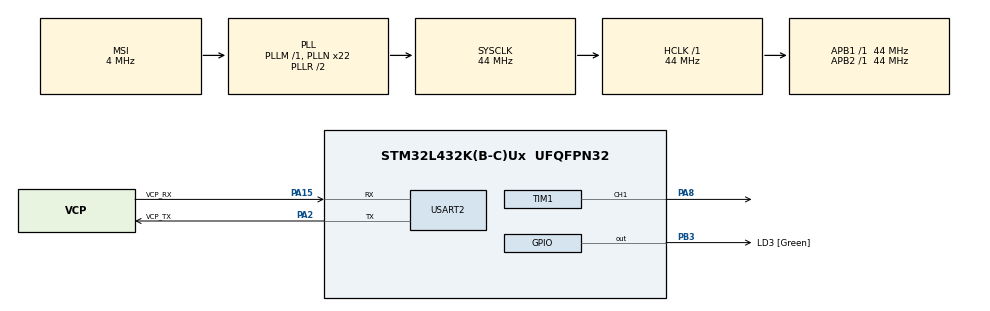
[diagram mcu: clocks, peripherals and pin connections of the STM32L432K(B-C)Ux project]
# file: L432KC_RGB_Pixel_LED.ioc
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Dma.Request0=TIM1_CH1
Dma.TIM1_CH1.0.Direction=DMA_MEMORY_TO_PERIPH
Dma.TIM1_CH1.0.Instance=DMA1_Channel2
Dma.TIM1_CH1.0.MemDataAlignment=DMA_MDATAALIGN_BYTE
Dma.TIM1_CH1.0.MemInc=DMA_MINC_ENABLE
Dma.TIM1_CH1.0.Mode=DMA_CIRCULAR
Dma.TIM1_CH1.0.PeriphDataAlignment=DMA_PDATAALIGN_WORD
Dma.TIM1_CH1.0.PeriphInc=DMA_PINC_DISABLE
Dma.TIM1_CH1.0.Priority=DMA_PRIORITY_HIGH
Mcu.Family=STM32L4
Mcu.Name=STM32L432K(B-C)Ux
Mcu.Package=UFQFPN32
NVIC.DMA1_Channel2_IRQn=true\:0\:0\:false\:false\:true\:false\:true\:true
NVIC.PriorityGroup=NVIC_PRIORITYGROUP_4
PA0.GPIO_Label=MCO [High speed clock in]
PA0.Mode=HSE-External-Clock-Source-for-LittleOrca
PA0.Signal=RCC_CK_IN
PA13\ (JTMS-SWDIO).GPIO_Label=SWDIO
PA13\ (JTMS-SWDIO).Mode=Serial_Wire
PA13\ (JTMS-SWDIO).Signal=SYS_JTMS-SWDIO
PA14\ (JTCK-SWCLK).GPIO_Label=SWCLK
PA14\ (JTCK-SWCLK).Mode=Serial_Wire
PA14\ (JTCK-SWCLK).Signal=SYS_JTCK-SWCLK
PA15\ (JTDI).GPIO_Label=VCP_RX
PA15\ (JTDI).Mode=Asynchronous
PA15\ (JTDI).Signal=USART2_RX
PA2.GPIO_Label=VCP_TX
PA2.Mode=Asynchronous
PA2.Signal=USART2_TX
PA8.Signal=S_TIM1_CH1
PB3\ (JTDO-TRACESWO).GPIO_Label=LD3 [Green]
PB3\ (JTDO-TRACESWO).Signal=GPIO_Output
PC14-OSC32_IN\ (PC14).Mode=LSE-External-Oscillator
PC14-OSC32_IN\ (PC14).Signal=RCC_OSC32_IN
PC15-OSC32_OUT\ (PC15).Mode=LSE-External-Oscillator
PC15-OSC32_OUT\ (PC15).Signal=RCC_OSC32_OUT
ProjectManager.HeapSize=0x200
ProjectManager.StackSize=0x400
ProjectManager.TargetToolchain=STM32CubeIDE
RCC.AHBFreq_Value=44000000
RCC.APB1Freq_Value=44000000
RCC.APB1TimFreq_Value=44000000
RCC.APB2Freq_Value=44000000
RCC.APB2TimFreq_Value=44000000
RCC.CortexFreq_Value=44000000
RCC.HCLKFreq_Value=44000000
RCC.HSE_VALUE=8000000
RCC.HSI16_VALUE=16000000
RCC.HSI48_VALUE=48000000
RCC.HSI_VALUE=16000000
RCC.MSI_VALUE=4000000
RCC.PLLMUL=RCC_PLLMUL_4
RCC.PLLN=22
RCC.SYSCLKFreq_VALUE=44000000
RCC.SYSCLKSource=RCC_SYSCLKSOURCE_PLLCLK
RCC.VCOOutputFreq_Value=88000000
SH.S_TIM1_CH1.0=TIM1_CH1,PWM Generation1 CH1
TIM1.Channel-PWM\ Generation1\ CH1=TIM_CHANNEL_1
TIM1.Period=54
USART2.VirtualMode-Asynchronous=VM_ASYNC
VP_TIM1_VS_ClockSourceINT.Mode=Internal
board=NUCLEO-L432KC

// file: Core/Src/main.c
/* USER CODE BEGIN Header */
/**
 ******************************************************************************
 * @file           : main.c
 * @brief          : Main program body
 ******************************************************************************
 * @attention
 *
 * Copyright (c) 2024 STMicroelectronics.
 * All rights reserved.
 *
 * This software is licensed under terms that can be found in the LICENSE file
 * in the root directory of this software component.
 * If no LICENSE file comes with this software, it is provided AS-IS.
 *
 ******************************************************************************
 */
/* USER CODE END Header */
#include "main.h"
#include "dma.h"
#include "tim.h"
#include "usart.h"
#include "gpio.h"

/* USER CODE BEGIN Includes */
#include "Pixel_LED_Driver.h"
/* USER CODE END Includes */

void SystemClock_Config(void);

int main(void)
{

  /* MCU Configuration--------------------------------------------------------*/

  /* Reset of all peripherals, Initializes the Flash interface and the Systick. */
  HAL_Init();

  /* Configure the system clock */
  SystemClock_Config();

  /* Initialize all configured peripherals */
  MX_GPIO_Init();
  MX_DMA_Init();
  MX_USART2_UART_Init();
  MX_TIM1_Init();
  /* USER CODE BEGIN 2 */
	// Exemple d'utilisation
	led_set_all_RGB(0, 0, 0);  //init
	led_render();
	HAL_Delay(10);

  /* USER CODE END 2 */

  /* Infinite loop */
  /* USER CODE BEGIN WHILE */
	while (1)
	{
	    rainbow_effect(20, NUM_PIXELS, 12);

        // 1. Allumer toutes les LEDs en rouge pendant 2 secondes
        led_set_all_RGB(255, 0, 0); // Rouge
        led_render();  // Applique les changements
        HAL_Delay(2000);  // Attente de 2 secondes

        // 2. Allumer toutes les LEDs en vert pendant 2 secondes
        led_set_all_RGB(0, 255, 0); // Vert
        led_render();  // Applique les changements
        HAL_Delay(2000);  // Attente de 2 secondes

        // 3. Allumer toutes les LEDs en bleu pendant 2 secondes
        led_set_all_RGB(0, 0, 255); // Bleu
        led_render();  // Applique les changements
        HAL_Delay(2000);  // Attente de 2 secondes

        // 4. Effet de chenille : déplacer une LED jaune sur la bande pendant 10 secondes
        for (uint8_t i = 0; i < NUM_PIXELS; i++) {
            led_set_all_RGB(0, 0, 0);  // Éteindre toutes les LEDs
            led_set_RGB(i, 255, 255, 0);  // Allumer une LED jaune à la position i
            led_render();  // Applique les changements
            HAL_Delay(200);  // Attente de 200 ms pour l'effet chenille
        }

        // 5. Effet de clignotement rapide : Rouge puis Bleu pendant 1 seconde
        for (uint8_t i = 0; i < 5; i++) {
            led_set_all_RGB(255, 0, 0);  // Rouge
            led_render();  // Applique les changements
            HAL_Delay(100);  // Attente de 100 ms

            led_set_all_RGB(0, 0, 255);  // Bleu
            led_render();  // Applique les changements
            HAL_Delay(100);  // Attente de 100 ms
        }

        // 6. Effet de clignotement lent de toutes les LEDs en blanc pendant 5 secondes
        for (uint8_t i = 0; i < 5; i++) {
            led_set_all_RGB(255, 255, 255);  // Blanc
            led_render();  // Applique les changements
            HAL_Delay(500);  // Attente de 500 ms

            led_set_all_RGB(0, 0, 0);  // Éteindre toutes les LEDs
            led_render();  // Applique les changements
            HAL_Delay(500);  // Attente de 500 ms
        }

    /* USER CODE END WHILE */

	}
}

void SystemClock_Config(void)
{
  RCC_OscInitTypeDef RCC_OscInitStruct = {0};
  RCC_ClkInitTypeDef RCC_ClkInitStruct = {0};

  /** Configure the main internal regulator output voltage
  */
  if (HAL_PWREx_ControlVoltageScaling(PWR_REGULATOR_VOLTAGE_SCALE1) != HAL_OK)
  {
    Error_Handler();
  }

  /** Configure LSE Drive Capability
  */
  HAL_PWR_EnableBkUpAccess();
  __HAL_RCC_LSEDRIVE_CONFIG(RCC_LSEDRIVE_LOW);

  /** Initializes the RCC Oscillators according to the specified parameters
  * in the RCC_OscInitTypeDef structure.
  */
  RCC_OscInitStruct.OscillatorType = RCC_OSCILLATORTYPE_LSE|RCC_OSCILLATORTYPE_MSI;
  RCC_OscInitStruct.LSEState = RCC_LSE_ON;
  RCC_OscInitStruct.MSIState = RCC_MSI_ON;
  RCC_OscInitStruct.MSICalibrationValue = 0;
  RCC_OscInitStruct.MSIClockRange = RCC_MSIRANGE_6;
  RCC_OscInitStruct.PLL.PLLState = RCC_PLL_ON;
  RCC_OscInitStruct.PLL.PLLSource = RCC_PLLSOURCE_MSI;
  RCC_OscInitStruct.PLL.PLLM = 1;
  RCC_OscInitStruct.PLL.PLLN = 22;
  RCC_OscInitStruct.PLL.PLLP = RCC_PLLP_DIV7;
  RCC_OscInitStruct.PLL.PLLQ = RCC_PLLQ_DIV2;
  RCC_OscInitStruct.PLL.PLLR = RCC_PLLR_DIV2;
  if (HAL_RCC_OscConfig(&RCC_OscInitStruct) != HAL_OK)
  {
    Error_Handler();
  }

  /** Initializes the CPU, AHB and APB buses clocks
  */
  RCC_ClkInitStruct.ClockType = RCC_CLOCKTYPE_HCLK|RCC_CLOCKTYPE_SYSCLK
                              |RCC_CLOCKTYPE_PCLK1|RCC_CLOCKTYPE_PCLK2;
  RCC_ClkInitStruct.SYSCLKSource = RCC_SYSCLKSOURCE_PLLCLK;
  RCC_ClkInitStruct.AHBCLKDivider = RCC_SYSCLK_DIV1;
  RCC_ClkInitStruct.APB1CLKDivider = RCC_HCLK_DIV1;
  RCC_ClkInitStruct.APB2CLKDivider = RCC_HCLK_DIV1;

  if (HAL_RCC_ClockConfig(&RCC_ClkInitStruct, FLASH_LATENCY_2) != HAL_OK)
  {
    Error_Handler();
  }

  /** Enable MSI Auto calibration
  */
  HAL_RCCEx_EnableMSIPLLMode();
}

void Error_Handler(void)
{
	__disable_irq();
	while (1)
	{
	}
}
